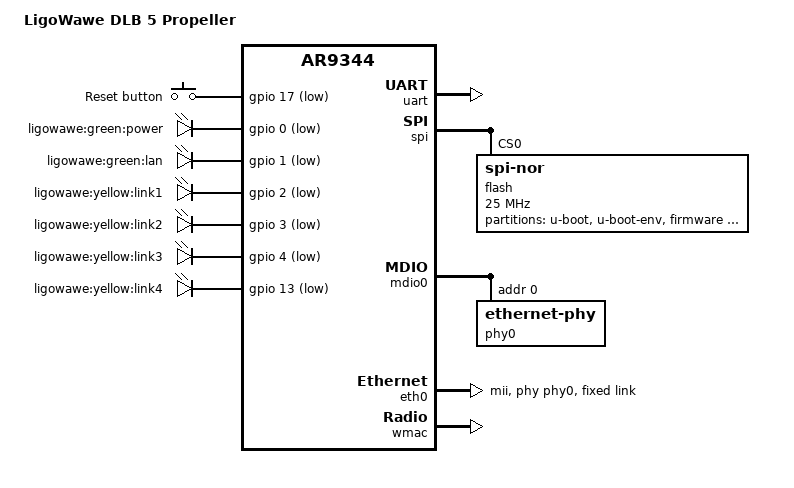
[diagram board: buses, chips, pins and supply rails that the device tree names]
// SPDX-License-Identifier: GPL-2.0-or-later OR MIT
/dts-v1/;

#include <dt-bindings/gpio/gpio.h>
#include <dt-bindings/input/input.h>

#include "ar9344.dtsi"

/ {
	model = "LigoWawe DLB 5 Propeller";
	compatible = "ligowawe,dlb5-propeller", "qca,ar9344";

	aliases {
		serial0 = &uart;
		led-status = &status;
	};

	keys {
		compatible = "gpio-keys-polled";
		poll-interval = <20>;
		#address-cells = <1>;
		#size-cells = <0>;
		pinctrl-names = "default";
                pinctrl-0 = <&jtag_disable_pins>;

		reset {
			label = "Reset button";
			linux,code = <KEY_RESTART>;
			gpios = <&gpio 17 GPIO_ACTIVE_LOW>;
			debounce-interval = <60>;
		};
	};

	leds {
		compatible = "gpio-leds";

		status: power {
			label = "ligowawe:green:power";
			gpios = <&gpio 0 GPIO_ACTIVE_LOW>;
			default-state = "on";
		};

		lan {
			label = "ligowawe:green:lan";
			gpios = <&gpio 1 GPIO_ACTIVE_LOW>;
			default-state = "off";
		};

		link1 {
			label = "ligowawe:yellow:link1";
			gpios = <&gpio 2 GPIO_ACTIVE_LOW>;
			default-state = "off";
		};

		link2 {
			label = "ligowawe:yellow:link2";
			gpios = <&gpio 3 GPIO_ACTIVE_LOW>;
			default-state = "off";
		};

		link3 {
			label = "ligowawe:yellow:link3";
			gpios = <&gpio 4 GPIO_ACTIVE_LOW>;
			default-state = "off";
		};

		link4 {
			label = "ligowawe:yellow:link4";
			gpios = <&gpio 13 GPIO_ACTIVE_LOW>;
			default-state = "off";
		};
	};
};

&ref {
	clock-frequency = <40000000>;
};

&uart {
	status = "okay";
};

&gpio {
	status = "okay";
};

&spi {
	num-cs = <1>;

	status = "okay";

	flash@0 {
		#address-cells = <1>;
		#size-cells = <1>;
		compatible = "jedec,spi-nor";
		reg = <0>;
		spi-max-frequency = <25000000>;

		partitions {
			compatible = "fixed-partitions";
			#address-cells = <1>;
			#size-cells = <1>;

			uboot: partition@0 {
				label = "u-boot";
				reg = <0x000000 0x030000>;
				read-only;
			};

			partition@30000 {
				label = "u-boot-env";
				reg = <0x030000 0x010000>;
			};
			
			partition@40000 {
				label = "firmware";
				reg = <0x040000 0x780000>;
			};

			partition@f40000 {
				label = "data";
				reg = <0xf40000 0x090000>;
				read-only;
			};

			cfg: partition@fd0000 {
				label = "cfg";
				reg = <0xfd0000 0x020000>;
				read-only;
			};

			art: partition@ff0000 {
				label = "art";
				reg = <0xff0000 0x010000>;
				read-only;
			};
		};
	};
};

&mdio0 {
	status = "okay";

	phy-mask = <0>;

	phy0: ethernet-phy@0 {
		reg = <0>;
		phy-mode = "mii";
	};
};

&eth0 {
	status = "okay";
	
	mtd-mac-address = <&art 0x0>;

	phy-mode = "mii";
	phy-handle = <&phy0>;
	
	fixed-link {
		speed = <100>;
		full-duplex;
	};
};

&wmac {
	status = "okay";

	mtd-mac-address = <&art 0x0>;
	mtd-cal-data = <&art 0x1000>;
};
